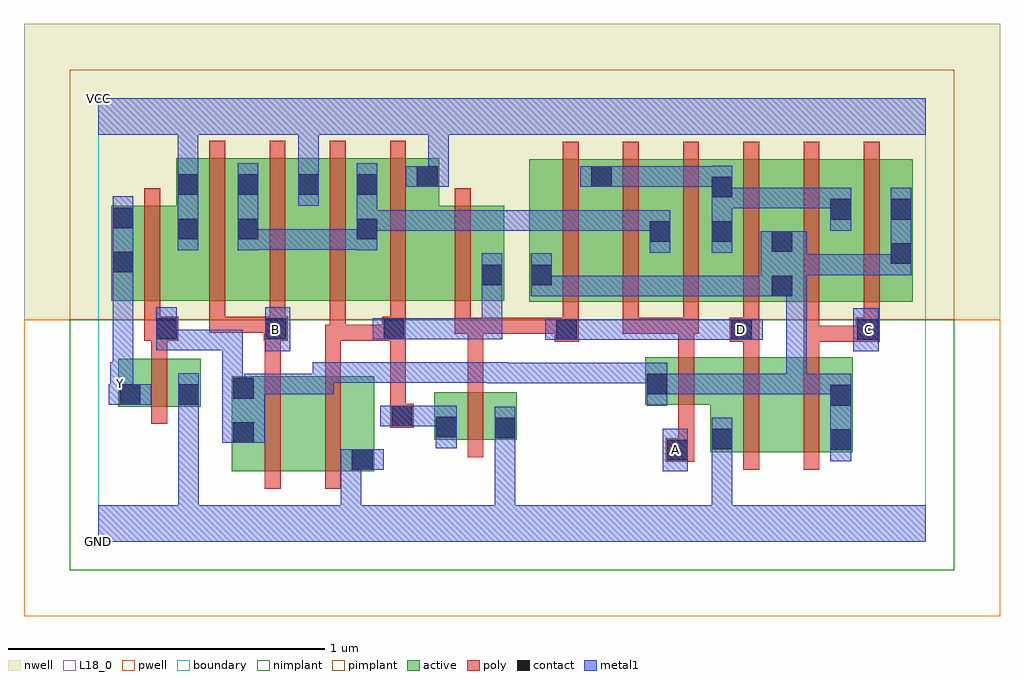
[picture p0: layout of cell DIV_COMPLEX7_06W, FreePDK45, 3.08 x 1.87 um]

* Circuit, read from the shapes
.subckt DIV_COMPLEX7_06W A B C D GND VCC Y
M1 GND n1 Y VSUBS nfet w=0.15u l=0.05u
M2 n2 B n1 VSUBS nfet w=0.3u l=0.05u
M3 GND n3 n2 VSUBS nfet w=0.3u l=0.05u
M4 GND D n3 VSUBS nfet w=0.15u l=0.05u
M5 GND A n1 VSUBS nfet w=0.15u l=0.05u
M6 n4 D GND VSUBS nfet w=0.3u l=0.05u
M7 n1 C n4 VSUBS nfet w=0.3u l=0.05u
M8 VCC n1 Y n5 pfet w=0.3u l=0.05u
M9 n6 B VCC n5 pfet w=0.45u l=0.05u m=2
M10 n6 n3 VCC n5 pfet w=0.45u l=0.05u m=2
M11 n3 D VCC n5 pfet w=0.3u l=0.05u
M12 n7 D n1 n5 pfet w=0.45u l=0.05u m=2
M13 n6 A n7 n5 pfet w=0.45u l=0.05u m=2
M14 n7 C n1 n5 pfet w=0.45u l=0.05u m=2
.ends

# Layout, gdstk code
import gdstk
lib = gdstk.Library(unit=1e-6, precision=1e-09)
def R(c, l, rs):  # rectangles x0, y0, x1, y1
    for r in rs: c.add(gdstk.rectangle(r[:2], r[2:], *l))
def A(c, l, x, y, w, h, nx, ny, dx, dy):  # array of equal rectangles
    R(c, l, [(x+i*dx, y+j*dy, x+i*dx+w, y+j*dy+h) for i in range(nx) for j in range(ny)])
active = (1, 0)
pwell = (2, 0)
nwell = (3, 0)
nimplant = (4, 0)
pimplant = (5, 0)
poly = (9, 0)
contact = (10, 0)
metal1 = (11, 0)
L18_0 = (18, 0)
boundary = (235, 0)

div_complex7_06w = lib.new_cell('DIV_COMPLEX7_06W')
R(div_complex7_06w, active, [(0.42,0.222,0.645,0.522), (0.645,0.222,0.87,0.522), (0.795,0.222,0.87,0.522), (1.93,0.282,2.155,0.582), (2.155,0.282,2.38,0.582), (2.305,0.282,2.38,0.582), (1.93,0.287,2.005,0.495), (0.42,0.307,0.495,0.522), (1.06,0.322,1.32,0.472), (1.245,0.322,1.32,0.472), (1.06,0.325,1.135,0.472), (0.062,0.427,0.137,0.577), (0.062,0.427,0.322,0.577), (0.247,0.427,0.322,0.577), (1.725,0.432,2.005,0.582), (1.725,0.432,1.8,0.582), (1.36,0.757,1.625,1.207), (1.36,0.757,1.435,1.07), (1.55,0.757,1.81,1.207), (1.735,0.757,1.81,1.07), (1.735,0.757,2.005,1.207), (1.93,0.757,2.195,1.207), (2.12,0.757,2.38,1.207), (2.12,0.757,2.195,1.07), (2.305,0.757,2.38,1.2), (2.305,0.757,2.57,1.207), (2.495,0.757,2.57,1.2), (0.04,0.76,0.115,1.06), (0.04,0.76,0.32,1.06), (0.245,0.76,0.51,1.21), (0.245,0.76,0.32,1.165), (0.435,0.76,0.7,1.21), (0.435,0.76,0.51,1.2), (0.625,0.76,0.885,1.21), (0.625,0.76,0.7,1.21), (0.81,0.76,1.075,1.21), (0.81,0.76,0.885,1.2), (1,0.76,1.28,1.06), (1.93,0.785,2.005,1.2), (1.205,0.805,1.28,1.055), (1.55,0.857,1.625,1.2), (1,0.96,1.075,1.21)])
R(div_complex7_06w, pwell, [(-0.235,-0.235,2.845,0.7)])
R(div_complex7_06w, nwell, [(-0.235,0.7,2.845,1.635)])
R(div_complex7_06w, nimplant, [(-0.09,-0.09,2.7,0.7)])
R(div_complex7_06w, pimplant, [(-0.09,0.7,2.7,1.49)])
A(div_complex7_06w, poly, 1.465, 0.657, 0.05, 0.095, 4, 1, 0.19, 0)
A(div_complex7_06w, poly, 1.465, 0.702, 0.05, 0.56, 6, 1, 0.19, 0)
A(div_complex7_06w, poly, 0.35, 0.705, 0.05, 0.56, 4, 1, 0.19, 0)
R(div_complex7_06w, poly, [(0.525,0.167,0.575,0.577), (0.715,0.167,0.765,0.577), (2.035,0.227,2.085,0.637), (2.225,0.227,2.275,0.637), (1.79,0.252,1.88,0.327), (1.165,0.267,1.215,0.527), (1.83,0.277,1.88,0.427), (0.92,0.36,0.995,0.435), (0.167,0.372,0.217,0.632), (1.83,0.377,1.88,0.637), (0.92,0.385,0.97,0.435), (0.92,0.385,0.97,0.435), (0.92,0.385,0.97,0.685), (1.165,0.477,1.215,0.707), (0.525,0.527,0.575,0.685), (0.715,0.527,0.765,0.685), (0.167,0.582,0.217,0.685), (1.83,0.587,1.88,0.707), (2.035,0.587,2.085,0.682), (2.225,0.587,2.275,0.682), (1.44,0.632,1.515,0.707), (1.992,0.632,2.085,0.707), (2.225,0.632,2.44,0.682), (2.225,0.632,2.275,0.682), (2.225,0.632,2.275,0.682), (2.225,0.632,2.275,0.682), (2.225,0.632,2.275,0.752), (2.39,0.632,2.465,0.707), (0.145,0.635,0.252,0.71), (0.522,0.635,0.597,0.71), (0.715,0.635,0.78,0.685), (0.73,0.635,0.945,0.685), (0.73,0.635,0.78,0.685), (0.73,0.635,0.78,0.685), (0.73,0.635,0.78,0.755), (0.895,0.635,0.97,0.71), (1.125,0.657,1.175,0.755), (1.125,0.657,1.215,0.707), (1.165,0.657,1.215,0.707), (1.165,0.657,1.215,0.707), (1.165,0.657,1.49,0.707), (1.44,0.657,1.49,0.707), (1.44,0.657,1.49,0.707), (1.655,0.657,1.705,0.707), (1.655,0.657,1.705,0.707), (1.655,0.657,1.705,0.707), (1.655,0.657,1.88,0.707), (1.83,0.657,1.895,0.707), (2.415,0.657,2.465,0.752), (0.145,0.66,0.195,0.755), (0.35,0.66,0.4,0.755), (0.35,0.66,0.4,0.71), (0.35,0.66,0.572,0.71), (0.522,0.66,0.572,0.71), (0.522,0.66,0.572,0.71), (0.54,0.66,0.59,0.755), (0.92,0.66,0.97,0.755), (0.145,0.705,0.195,1.115), (1.125,0.705,1.175,1.115)])
A(div_complex7_06w, contact, 0.25, 1.095, 0.065, 0.065, 3, 1, 0.19, 0)
R(div_complex7_06w, contact, [(0.8,0.227,0.865,0.292), (1.795,0.257,1.86,0.322), (2.31,0.29,2.375,0.355), (1.935,0.292,2,0.357), (0.425,0.312,0.49,0.377), (1.25,0.327,1.315,0.392), (1.065,0.33,1.13,0.395), (0.925,0.365,0.99,0.43), (2.31,0.43,2.375,0.495), (0.067,0.432,0.132,0.497), (0.252,0.432,0.317,0.497), (0.425,0.452,0.49,0.517), (1.73,0.465,1.795,0.53), (1.445,0.637,1.51,0.702), (1.997,0.637,2.062,0.702), (2.395,0.637,2.46,0.702), (0.182,0.64,0.247,0.705), (0.527,0.64,0.592,0.705), (0.9,0.64,0.965,0.705), (2.125,0.775,2.19,0.84), (1.21,0.81,1.275,0.875), (1.365,0.81,1.43,0.875), (0.045,0.85,0.11,0.915), (2.5,0.877,2.565,0.942), (2.125,0.915,2.19,0.98), (1.74,0.947,1.805,1.012), (1.935,0.947,2,1.012), (0.25,0.955,0.315,1.02), (0.44,0.955,0.505,1.02), (0.815,0.955,0.88,1.02), (0.045,0.99,0.11,1.055), (2.31,1.017,2.375,1.082), (2.5,1.017,2.565,1.082), (1.935,1.087,2,1.152), (0.815,1.095,0.88,1.16), (1.005,1.12,1.07,1.185), (1.555,1.12,1.62,1.185)])
R(div_complex7_06w, metal1, [(0,0,2.61,0.115), (0.252,0.05,0.317,0.115), (0.252,0.05,0.317,0.115), (0.252,0.05,0.317,0.115), (0.252,0.05,0.317,0.115), (0.252,0.05,0.317,0.115), (0.252,0.05,0.317,0.115), (0.252,0.05,0.317,0.462), (0.765,0.05,0.83,0.115), (0.765,0.05,0.83,0.115), (0.765,0.05,0.83,0.292), (1.25,0.05,1.315,0.357), (1.935,0.05,2,0.322), (1.78,0.222,1.86,0.357), (0.765,0.227,0.83,0.292), (0.765,0.227,0.83,0.292), (0.765,0.227,0.9,0.292), (2.31,0.255,2.375,0.53), (1.935,0.257,2,0.322), (1.935,0.257,2,0.322), (1.935,0.257,2,0.322), (1.935,0.257,2,0.322), (1.935,0.257,2,0.392), (1.25,0.292,1.315,0.357), (1.25,0.292,1.315,0.357), (1.25,0.292,1.315,0.357), (1.25,0.292,1.315,0.357), (1.25,0.292,1.315,0.357), (1.25,0.292,1.315,0.357), (1.25,0.292,1.315,0.427), (1.065,0.295,1.13,0.43), (0.39,0.312,0.525,0.517), (0.89,0.365,1.025,0.43), (0.96,0.365,1.13,0.43), (0.252,0.397,0.317,0.532), (1.73,0.43,1.795,0.565), (0.032,0.432,0.167,0.497), (0.037,0.432,0.11,0.567), (0.045,0.432,0.11,0.497), (0.39,0.452,0.455,0.67), (0.46,0.452,0.525,0.517), (0.46,0.452,0.525,0.53), (0.46,0.465,0.662,0.53), (0.597,0.465,0.662,0.53), (0.597,0.465,0.742,0.53), (0.677,0.465,0.742,0.567), (1.73,0.465,1.862,0.53), (1.797,0.465,1.862,0.53), (1.797,0.465,2.017,0.53), (1.952,0.465,2.017,0.53), (1.952,0.465,2.017,0.53), (1.952,0.465,2.017,0.53), (1.952,0.465,2.235,0.53), (2.17,0.465,2.235,0.53), (2.17,0.465,2.235,0.53), (2.17,0.465,2.235,0.53), (2.17,0.465,2.375,0.53), (2.17,0.465,2.235,0.84), (1.227,0.5,1.43,0.565), (1.227,0.5,1.292,0.567), (1.365,0.5,1.43,0.565), (1.365,0.5,1.43,0.565), (1.365,0.5,1.43,0.565), (1.365,0.5,1.657,0.565), (1.592,0.5,1.657,0.565), (1.592,0.5,1.682,0.565), (1.617,0.5,1.682,0.565), (1.617,0.5,1.795,0.565), (0.045,0.502,0.11,0.88), (0.677,0.502,0.8,0.567), (0.735,0.502,0.8,0.567), (0.735,0.502,1.137,0.567), (1.072,0.502,1.137,0.567), (1.072,0.502,1.137,0.567), (1.072,0.502,1.137,0.567), (1.072,0.502,1.292,0.567), (1.227,0.502,1.292,0.567), (1.227,0.502,1.292,0.567), (0.527,0.602,0.605,0.74), (2.382,0.602,2.462,0.737), (0.182,0.605,0.247,0.67), (0.182,0.605,0.247,0.67), (0.182,0.605,0.385,0.67), (0.182,0.605,0.247,0.74), (0.32,0.605,0.385,0.67), (0.32,0.605,0.455,0.67), (0.39,0.605,0.455,0.67), (1.41,0.637,1.545,0.702), (1.48,0.637,1.657,0.702), (1.592,0.637,1.657,0.702), (1.592,0.637,1.682,0.702), (1.617,0.637,1.682,0.702), (1.617,0.637,1.862,0.702), (1.797,0.637,1.862,0.702), (1.797,0.637,1.862,0.702), (1.797,0.637,1.862,0.702), (1.797,0.637,2,0.702), (1.935,0.637,2,0.702), (1.935,0.637,2.027,0.702), (1.962,0.637,2.097,0.702), (0.865,0.64,1,0.705), (0.935,0.64,1.035,0.705), (0.97,0.64,1.035,0.705), (0.97,0.64,1.275,0.705), (1.21,0.64,1.275,0.705), (1.21,0.64,1.275,0.705), (1.21,0.64,1.275,0.705), (1.21,0.64,1.275,0.84), (1.21,0.775,1.275,0.91), (1.365,0.775,1.43,0.84), (1.365,0.775,1.43,0.84), (1.365,0.775,1.43,0.91), (1.365,0.775,1.655,0.84), (1.59,0.775,1.655,0.84), (1.59,0.775,1.682,0.84), (1.617,0.775,1.682,0.84), (1.617,0.775,1.862,0.84), (1.797,0.775,1.862,0.84), (1.797,0.775,1.862,0.84), (1.797,0.775,1.862,0.84), (1.797,0.775,2.017,0.84), (1.952,0.775,2.017,0.84), (1.952,0.775,2.017,0.84), (1.952,0.775,2.017,0.84), (1.952,0.775,2.155,0.84), (2.09,0.775,2.235,0.98), (2.17,0.775,2.235,0.84), (2.17,0.775,2.235,0.84), (0.045,0.815,0.11,1.09), (2.17,0.842,2.235,0.907), (2.17,0.842,2.235,0.907), (2.17,0.842,2.427,0.907), (2.362,0.842,2.427,0.907), (2.362,0.842,2.565,0.907), (2.5,0.842,2.565,0.907), (2.5,0.842,2.565,0.907), (2.5,0.842,2.565,1.117), (1.74,0.912,1.805,1.047), (1.935,0.912,2,1.187), (0.25,0.92,0.315,1.195), (0.44,0.92,0.505,1.195), (0.815,0.92,0.88,1.195), (0.44,0.922,0.522,0.987), (0.457,0.922,0.522,0.987), (0.457,0.922,0.662,0.987), (0.597,0.922,0.662,0.987), (0.597,0.922,0.662,0.987), (0.597,0.922,0.662,0.987), (0.597,0.922,0.88,0.987), (0.815,0.982,1.137,1.047), (1.072,0.982,1.137,1.047), (1.072,0.982,1.137,1.047), (1.072,0.982,1.137,1.047), (1.072,0.982,1.137,1.047), (1.072,0.982,1.137,1.047), (1.072,0.982,1.292,1.047), (1.227,0.982,1.292,1.047), (1.227,0.982,1.292,1.047), (1.227,0.982,1.292,1.047), (1.227,0.982,1.43,1.047), (1.365,0.982,1.43,1.047), (1.365,0.982,1.43,1.047), (1.365,0.982,1.43,1.047), (1.365,0.982,1.6,1.047), (1.535,0.982,1.6,1.047), (1.535,0.982,1.682,1.047), (1.617,0.982,1.682,1.047), (1.617,0.982,1.805,1.047), (2.31,0.982,2.375,1.117), (1.935,1.052,2,1.117), (1.935,1.052,2,1.117), (1.935,1.052,2.237,1.117), (2.172,1.052,2.237,1.117), (2.172,1.052,2.237,1.117), (2.172,1.052,2.237,1.117), (2.172,1.052,2.375,1.117), (0.63,1.06,0.695,1.195), (0.97,1.12,1.105,1.185), (1.04,1.12,1.105,1.35), (1.52,1.12,1.655,1.185), (1.59,1.12,1.682,1.185), (1.617,1.12,1.682,1.185), (1.617,1.12,1.862,1.185), (1.797,1.12,1.862,1.185), (1.797,1.12,1.862,1.185), (1.797,1.12,1.862,1.185), (1.797,1.12,2,1.185), (0.25,1.13,0.315,1.35), (0.63,1.13,0.695,1.35), (0,1.285,2.61,1.4)])
R(div_complex7_06w, L18_0, [(0,0,2.61,0.115), (0.252,0.05,0.317,0.115), (0.252,0.05,0.317,0.115), (0.252,0.05,0.317,0.115), (0.252,0.05,0.317,0.115), (0.252,0.05,0.317,0.115), (0.252,0.05,0.317,0.115), (0.252,0.05,0.317,0.462), (0.765,0.05,0.83,0.115), (0.765,0.05,0.83,0.115), (0.765,0.05,0.83,0.292), (1.25,0.05,1.315,0.357), (1.935,0.05,2,0.322), (1.78,0.222,1.86,0.357), (0.765,0.227,0.9,0.292), (0.765,0.227,0.83,0.292), (0.765,0.227,0.83,0.292), (1.787,0.257,1.852,0.322), (1.935,0.257,2,0.322), (1.935,0.257,2,0.322), (1.935,0.257,2,0.322), (1.935,0.257,2,0.322), (1.935,0.257,2,0.392), (1.25,0.292,1.315,0.357), (1.25,0.292,1.315,0.357), (1.25,0.292,1.315,0.357), (1.25,0.292,1.315,0.357), (1.25,0.292,1.315,0.357), (1.25,0.292,1.315,0.357), (1.25,0.292,1.315,0.427), (0.252,0.397,0.317,0.532), (0.032,0.432,0.167,0.497), (0.037,0.432,0.11,0.567), (0.045,0.432,0.11,0.497), (0.037,0.467,0.102,0.532), (0.045,0.502,0.11,0.88), (0.527,0.602,0.605,0.74), (2.382,0.602,2.462,0.737), (0.527,0.637,0.592,0.702), (1.41,0.637,1.545,0.702), (1.48,0.637,1.657,0.702), (1.592,0.637,1.657,0.702), (1.592,0.637,1.682,0.702), (1.617,0.637,1.682,0.702), (1.617,0.637,1.862,0.702), (1.797,0.637,1.862,0.702), (1.797,0.637,1.862,0.702), (1.797,0.637,1.862,0.702), (1.797,0.637,2,0.702), (1.935,0.637,2,0.702), (1.935,0.637,2.027,0.702), (1.962,0.637,2.097,0.702), (1.997,0.637,2.062,0.702), (2.397,0.637,2.462,0.702), (0.045,0.815,0.11,1.09), (0.25,0.92,0.315,1.195), (0.63,1.06,0.695,1.195), (0.97,1.12,1.105,1.185), (1.04,1.12,1.105,1.35), (0.25,1.13,0.315,1.35), (0.63,1.13,0.695,1.35), (0,1.285,2.61,1.4)])
R(div_complex7_06w, boundary, [(0,0,2.61,1.4)])
div_complex7_06w.add(gdstk.Label('A', (1.82,0.29), layer=11, texttype=0))
div_complex7_06w.add(gdstk.Label('B', (0.56,0.67), layer=11, texttype=0))
div_complex7_06w.add(gdstk.Label('C', (2.43,0.67), layer=11, texttype=0))
div_complex7_06w.add(gdstk.Label('D', (2.03,0.67), layer=11, texttype=0))
div_complex7_06w.add(gdstk.Label('Y', (0.07,0.5), layer=11, texttype=0))
div_complex7_06w.add(gdstk.Label('VCC', (0,1.4), layer=11, texttype=0))
div_complex7_06w.add(gdstk.Label('GND', (0,0), layer=11, texttype=0))

lib.write_gds('DIV_COMPLEX7_06W.gds')
